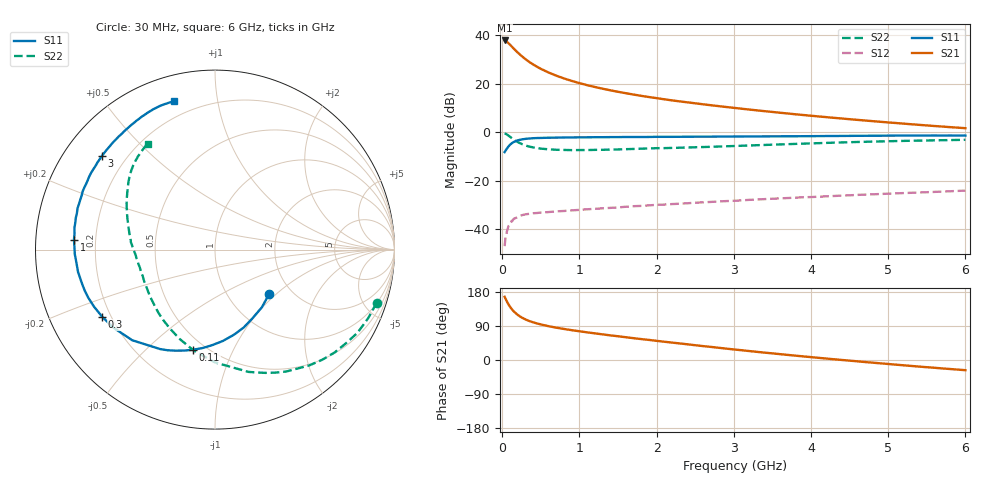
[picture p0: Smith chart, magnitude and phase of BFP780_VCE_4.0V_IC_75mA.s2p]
! Infineon Technologies  Discrete & RF Semiconductors
! BFP780
! VCE =  4.0 V,  IC =  75 mA
! Common Emitter S-Parameters:  Jul 2015
# GHz  S  MA  R  50
!  f  S11  S21  S12  S22
! GHz  MAG  ANG  MAG  ANG  MAG  ANG  MAG  ANG
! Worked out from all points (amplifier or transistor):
!   75 points, 30 MHz to 6 GHz, reference 50 ohm
!   highest |S21| = 37.8 dB at 30 MHz (marker M1)
!   |S21| within 3 dB of that: start of sweep to 137.8 MHz
!   unconditionally stable (mu >= 1): 1.776 GHz to end of sweep
!   at 150 MHz: K = 0.16, MSG = 35.1 dB, |S12| = -35.7 dB
!   at 2.3 GHz: K = 1.12, MAG = 19.0 dB, |S12| = -29.4 dB
!   at 6 GHz: K = 1.22, MAG = 10.0 dB, |S12| = -24.0 dB
!   S11 on the Smith chart (normalised r, x): 30 MHz: 1.53, -0.91; 110 MHz: 0.43, -0.71; 300 MHz: 0.17, -0.27; 1 GHz: 0.12, +0.03; 3 GHz: 0.11, +0.36; 6 GHz: 0.12, +0.75
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0.03  0.3907 -39.8  78.05 166.8  0.0045 78.1  0.9482 -18.2
0.05  0.4361 -61.4  74.84 158.1  0.0075 57.7  0.9193 -30.3
0.07  0.486 -77.5  70.75 150.5  0.0102 66.4  0.879 -40.7
0.09  0.5323 -91.6  66.1 143.7  0.0124 59.4  0.8322 -50.8
0.11  0.5716 -102.4  61.4 137.7  0.0135 52.2  0.7863 -59.8
0.15  0.6327 -118.8  52.81 128.0  0.0165 43.5  0.7058 -74.8
0.2  0.6838 -132.4  44 119.0  0.0179 38.2  0.6284 -90.0
0.25  0.7126 -142.1  37.35 112.3  0.0195 33.1  0.5755 -101.8
0.3  0.7316 -149.2  32.13 107.1  0.0204 30.6  0.5352 -111.6
0.4  0.7548 -159.0  24.95 99.4  0.0215 28.1  0.4876 -126.1
0.5  0.7649 -165.7  20.29 93.8  0.0222 24.9  0.4604 -136.5
0.6  0.7732 -170.7  17.05 89.2  0.0227 25.0  0.4462 -144.4
0.8  0.7816 -178.2  12.87 81.9  0.0239 24.5  0.4326 -155.6
1  0.7877 176.0  10.31 75.8  0.0252 25.2  0.4306 -163.4
1.1  0.7877 173.5  9.351 72.9  0.0259 25.5  0.4304 -166.7
1.5  0.7957 165.2  6.825 62.6  0.0283 26.8  0.4433 -176.2
2.1  0.806 154.6  4.783 48.2  0.0324 27.7  0.4719 173.8
3  0.8183 140.2  3.19 27.8  0.0387 27.4  0.5213 159.6
3.1  0.8193 138.8  3.061 25.8  0.0396 27.6  0.528 158.1
4.1  0.8347 124.9  2.121 5.7  0.047 24.3  0.5971 144.6
5.1  0.8545 113.7  1.552 -12.3  0.0551 19.8  0.6591 132.8
6  0.8577 105.5  1.214 -26.9  0.0628 14.6  0.7001 122.4
